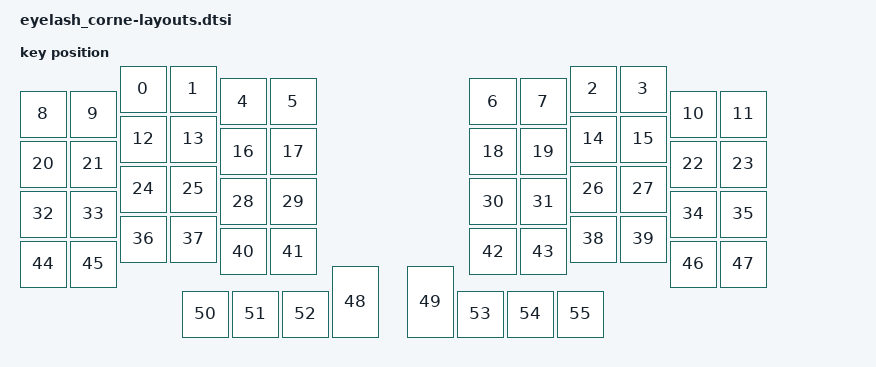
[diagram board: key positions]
/*
*
* Copyright (c) 2024 The ZMK Contributors
* SPDX-License-Identifier: MIT
*
*/

#include <physical_layouts.dtsi>

/ {
    zero46: zero46 {
        compatible = "zmk,physical-layout";
        display-name = "zero46";

        kscan = <&kscan0>;
        transform = <&matrix_transform0>;

        keys  //                     w   h    x    y     rot    rx    ry
            = <&key_physical_attrs 100 100  200    0       0     0     0>
            , <&key_physical_attrs 100 100  300    0       0     0     0>
            , <&key_physical_attrs 100 100 1100    0       0     0     0>
            , <&key_physical_attrs 100 100 1200    0       0     0     0>
            , <&key_physical_attrs 100 100  400   25       0     0     0>
            , <&key_physical_attrs 100 100  500   25       0     0     0>
            , <&key_physical_attrs 100 100  900   25       0     0     0>
            , <&key_physical_attrs 100 100 1000   25       0     0     0>
            , <&key_physical_attrs 100 100    0   50       0     0     0>
            , <&key_physical_attrs 100 100  100   50       0     0     0>
            , <&key_physical_attrs 100 100 1300   50       0     0     0>
            , <&key_physical_attrs 100 100 1400   50       0     0     0>
            , <&key_physical_attrs 100 100  200  100       0     0     0>
            , <&key_physical_attrs 100 100  300  100       0     0     0>
            , <&key_physical_attrs 100 100 1100  100       0     0     0>
            , <&key_physical_attrs 100 100 1200  100       0     0     0>
            , <&key_physical_attrs 100 100  400  125       0     0     0>
            , <&key_physical_attrs 100 100  500  125       0     0     0>
            , <&key_physical_attrs 100 100  900  125       0     0     0>
            , <&key_physical_attrs 100 100 1000  125       0     0     0>
            , <&key_physical_attrs 100 100    0  150       0     0     0>
            , <&key_physical_attrs 100 100  100  150       0     0     0>
            , <&key_physical_attrs 100 100 1300  150       0     0     0>
            , <&key_physical_attrs 100 100 1400  150       0     0     0>
            , <&key_physical_attrs 100 100  200  200       0     0     0>
            , <&key_physical_attrs 100 100  300  200       0     0     0>
            , <&key_physical_attrs 100 100 1100  200       0     0     0>
            , <&key_physical_attrs 100 100 1200  200       0     0     0>
            , <&key_physical_attrs 100 100  400  225       0     0     0>
            , <&key_physical_attrs 100 100  500  225       0     0     0>
            , <&key_physical_attrs 100 100  900  225       0     0     0>
            , <&key_physical_attrs 100 100 1000  225       0     0     0>
            , <&key_physical_attrs 100 100    0  250       0     0     0>
            , <&key_physical_attrs 100 100  100  250       0     0     0>
            , <&key_physical_attrs 100 100 1300  250       0     0     0>
            , <&key_physical_attrs 100 100 1400  250       0     0     0>
            , <&key_physical_attrs 100 100  200  300       0     0     0>
            , <&key_physical_attrs 100 100  300  300       0     0     0>
            , <&key_physical_attrs 100 100 1100  300       0     0     0>
            , <&key_physical_attrs 100 100 1200  300       0     0     0>
            , <&key_physical_attrs 100 100  400  325       0     0     0>
            , <&key_physical_attrs 100 100  500  325       0     0     0>
            , <&key_physical_attrs 100 100  900  325       0     0     0>
            , <&key_physical_attrs 100 100 1000  325       0     0     0>
            , <&key_physical_attrs 100 100    0  350       0     0     0>
            , <&key_physical_attrs 100 100  100  350       0     0     0>
            , <&key_physical_attrs 100 100 1300  350       0     0     0>
            , <&key_physical_attrs 100 100 1400  350       0     0     0>
            , <&key_physical_attrs 100 150  625  400       0     0     0>
            , <&key_physical_attrs 100 150  775  400       0     0     0>
            , <&key_physical_attrs 100 100  325  450       0     0     0>
            , <&key_physical_attrs 100 100  425  450       0     0     0>
            , <&key_physical_attrs 100 100  525  450       0     0     0>
            , <&key_physical_attrs 100 100  875  450       0     0     0>
            , <&key_physical_attrs 100 100  975  450       0     0     0>
            , <&key_physical_attrs 100 100 1075  450       0     0     0>
            ;
    };
};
